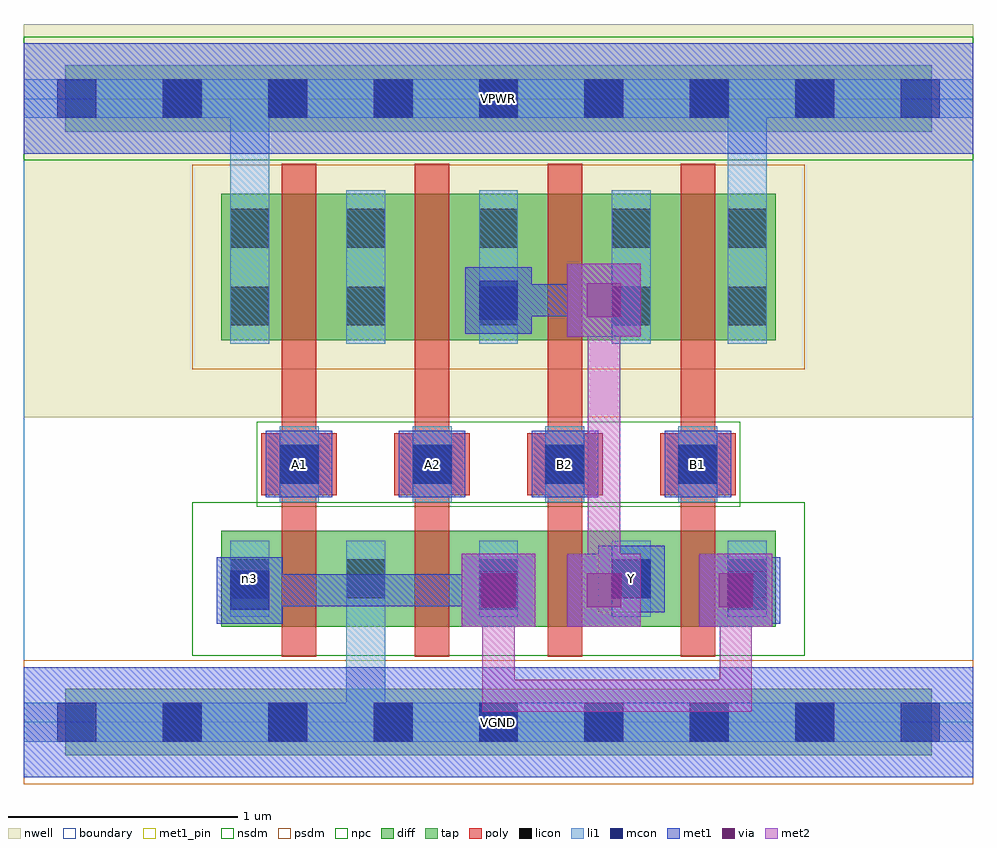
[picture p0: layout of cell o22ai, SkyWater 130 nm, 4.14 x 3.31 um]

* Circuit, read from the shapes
.subckt o22ai A1 A2 B1 B2 VGND VPWR Y n3
XM1 VGND A1 n3 VGND sky130_fd_pr__nfet_01v8 w=0.42 l=0.15
XM2 n3 A2 VGND VGND sky130_fd_pr__nfet_01v8 w=0.42 l=0.15
XM3 Y B2 n3 VGND sky130_fd_pr__nfet_01v8 w=0.42 l=0.15
XM4 n3 B1 Y VGND sky130_fd_pr__nfet_01v8 w=0.42 l=0.15
XM5 n1 A1 VPWR VPWR sky130_fd_pr__pfet_01v8 w=0.64 l=0.15
XM6 Y A2 n1 VPWR sky130_fd_pr__pfet_01v8 w=0.64 l=0.15
XM7 n2 B2 Y VPWR sky130_fd_pr__pfet_01v8 w=0.64 l=0.15
XM8 VPWR B1 n2 VPWR sky130_fd_pr__pfet_01v8 w=0.64 l=0.15
.ends

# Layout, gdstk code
import gdstk
lib = gdstk.Library(unit=1e-6, precision=1e-09)
def R(c, l, rs):  # rectangles x0, y0, x1, y1
    for r in rs: c.add(gdstk.rectangle(r[:2], r[2:], *l))
def A(c, l, x, y, w, h, nx, ny, dx, dy):  # array of equal rectangles
    R(c, l, [(x+i*dx, y+j*dy, x+i*dx+w, y+j*dy+h) for i in range(nx) for j in range(ny)])
nwell = (64, 20)
diff = (65, 20)
tap = (65, 44)
poly = (66, 20)
licon = (66, 44)
li1 = (67, 20)
mcon = (67, 44)
met1_pin = (68, 16)
met1 = (68, 20)
via = (68, 44)
met2 = (69, 20)
nsdm = (93, 44)
psdm = (94, 20)
npc = (95, 20)
boundary = (235, 4)

o22ai = lib.new_cell('o22ai')
R(o22ai, nwell, [(0,1.33,4.14,3.045)])
R(o22ai, diff, [(0.86,0.415,3.28,0.835), (0.86,1.665,3.28,2.305)])
R(o22ai, tap, [(0.18,-0.145,3.96,0.145), (0.18,2.575,3.96,2.865)])
A(o22ai, poly, 1.125, 0.285, 0.15, 2.15, 4, 1, 0.58, 0)
A(o22ai, poly, 1.035, 0.99, 0.33, 0.27, 4, 1, 0.58, 0)
A(o22ai, licon, 0.605, -0.085, 0.17, 0.17, 7, 2, 0.46, 2.72)
A(o22ai, licon, 1.405, 0.54, 0.17, 0.17, 3, 2, 0.58, 1.19)
A(o22ai, licon, 1.115, 1.04, 0.17, 0.17, 4, 1, 0.58, 0)
A(o22ai, licon, 1.405, 2.07, 0.17, 0.17, 3, 1, 0.58, 0)
R(o22ai, licon, [(0.9,0.54,1.07,0.71), (3.07,0.54,3.24,0.71), (0.9,1.73,1.07,1.9), (3.07,1.73,3.24,1.9), (0.9,2.07,1.07,2.24), (3.07,2.07,3.24,2.24)])
A(o22ai, li1, 1.405, 0.46, 0.17, 0.33, 3, 1, 0.58, 0)
A(o22ai, li1, 1.115, 0.96, 0.17, 0.33, 4, 1, 0.58, 0)
A(o22ai, li1, 1.405, 1.65, 0.17, 0.67, 3, 1, 0.58, 0)
R(o22ai, li1, [(0,-0.085,4.14,0.085), (1.405,-0.085,1.575,0.79), (0.9,0.46,1.07,0.79), (3.07,0.46,3.24,0.79), (0.9,1.65,1.07,2.32), (0.9,1.65,1.07,2.805), (3.07,1.65,3.24,2.32), (3.07,1.65,3.24,2.805), (0,2.635,4.14,2.805)])
A(o22ai, mcon, 0.145, -0.085, 0.17, 0.17, 9, 2, 0.46, 2.72)
A(o22ai, mcon, 0.9, 0.49, 0.17, 0.17, 3, 1, 1.085, 0)
A(o22ai, mcon, 1.115, 1.04, 0.17, 0.17, 4, 1, 0.58, 0)
R(o22ai, mcon, [(2.565,0.54,2.735,0.71), (1.985,1.755,2.155,1.925)])
A(o22ai, met1_pin, 1.055, 0.98, 0.29, 0.29, 4, 1, 0.58, 0)
R(o22ai, met1_pin, [(0,-0.24,4.14,0.24), (2.505,0.48,2.795,0.77), (0,2.48,4.14,2.96)])
A(o22ai, met1, 0.84, 0.43, 0.29, 0.29, 3, 1, 1.085, 0)
A(o22ai, met1, 1.055, 0.98, 0.29, 0.29, 4, 1, 0.58, 0)
R(o22ai, met1, [(0,-0.24,4.14,0.24), (1.91,0.415,2.23,0.735), (2.37,0.415,2.69,0.735), (2.945,0.415,3.265,0.735), (2.505,0.48,2.795,0.77), (0.915,0.505,1.22,0.645), (1.08,0.505,2.14,0.645), (2.46,0.505,2.715,0.645), (2.575,0.505,2.715,0.645), (3.035,0.505,3.225,0.645), (2.37,1.68,2.69,2), (1.925,1.695,2.215,1.985), (2,1.77,2.6,1.91), (0,2.48,4.14,2.96)])
R(o22ai, via, [(1.995,0.5,2.145,0.65), (2.455,0.5,2.605,0.65), (3.03,0.5,3.18,0.65), (2.455,1.765,2.605,1.915)])
R(o22ai, met2, [(2,0.045,2.14,0.645), (2,0.045,3.175,0.185), (3.035,0.045,3.175,0.645), (1.91,0.415,2.23,0.735), (2.37,0.415,2.69,0.735), (2.945,0.415,3.265,0.735), (2.46,0.505,2.6,1.91), (2.37,1.68,2.69,2)])
R(o22ai, nsdm, [(0.735,0.29,3.405,0.96), (0,2.45,4.14,2.99)])
R(o22ai, psdm, [(0,-0.27,4.14,0.27), (0.735,1.54,3.405,2.43)])
R(o22ai, npc, [(1.015,0.94,3.125,1.31)])
R(o22ai, boundary, [(0,0,4.14,2.72)])
o22ai.add(gdstk.Label('n3', (0.985,0.625), layer=67, texttype=5))
o22ai.add(gdstk.Label('A1', (1.2,1.125), layer=68, texttype=5))
o22ai.add(gdstk.Label('A2', (1.78,1.125), layer=68, texttype=5))
o22ai.add(gdstk.Label('B1', (2.94,1.125), layer=68, texttype=5))
o22ai.add(gdstk.Label('B2', (2.36,1.125), layer=68, texttype=5))
o22ai.add(gdstk.Label('Y', (2.65,0.625), layer=68, texttype=5))
o22ai.add(gdstk.Label('VPWR', (2.07,2.72), layer=68, texttype=5))
o22ai.add(gdstk.Label('VGND', (2.07,0), layer=68, texttype=5))
o22ai.add(gdstk.Label('A1', (1.2,1.125), layer=68, texttype=16))
o22ai.add(gdstk.Label('A2', (1.78,1.125), layer=68, texttype=16))
o22ai.add(gdstk.Label('B1', (2.94,1.125), layer=68, texttype=16))
o22ai.add(gdstk.Label('B2', (2.36,1.125), layer=68, texttype=16))
o22ai.add(gdstk.Label('Y', (2.65,0.625), layer=68, texttype=16))
o22ai.add(gdstk.Label('VPWR', (2.07,2.72), layer=68, texttype=16))
o22ai.add(gdstk.Label('VGND', (2.07,0), layer=68, texttype=16))

lib.write_gds('o22ai.gds')
